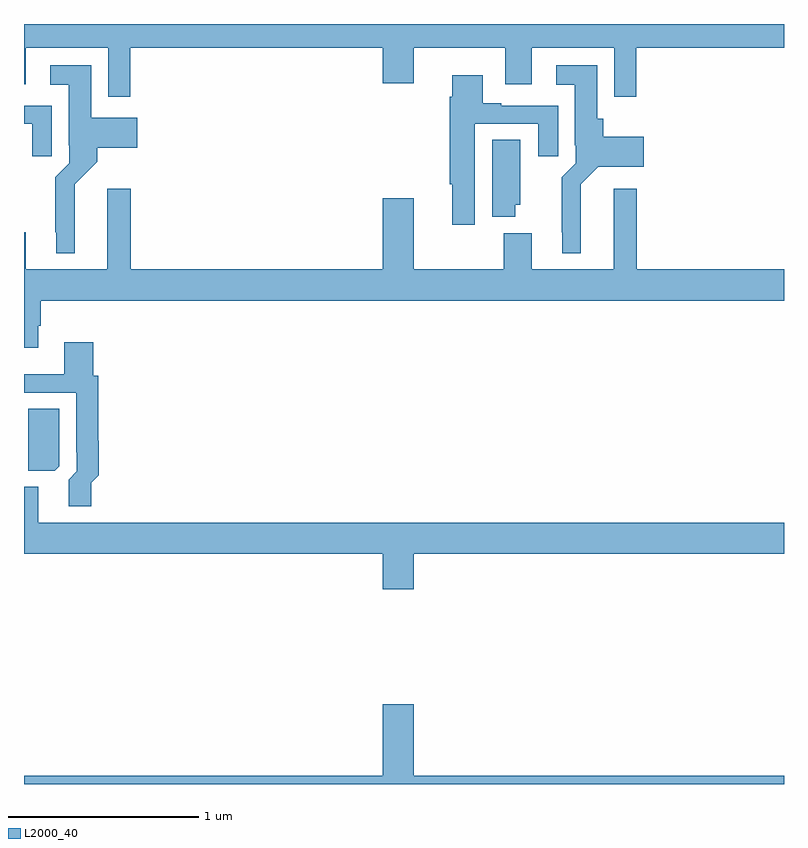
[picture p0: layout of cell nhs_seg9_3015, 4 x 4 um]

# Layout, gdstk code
import gdstk
lib = gdstk.Library(unit=1e-6, precision=1e-09)
def P(c, l, *ps):  # polygons
    for p in ps: c.add(gdstk.Polygon(p, *l))
L2000_40 = (2000, 40)

nhs_seg9_3015 = lib.new_cell('nhs_seg9_3015')
P(nhs_seg9_3015, L2000_40, [(283.559,1240.376),(284.888,1240.376),(284.888,1240.188),(285.052,1240.188),(285.052,1240.376),(285.533,1240.376),(285.533,1240.182),(285.673,1240.182),(285.673,1240.376),(286.107,1240.376),(286.107,1240.116),(286.223,1240.116),(286.223,1240.376),(287,1240.376),(287,1240.5),(283,1240.5),(283,1240.182),(283.009,1240.182),(283.009,1240.376),(283.443,1240.376),(283.443,1240.116),(283.559,1240.116)],
  [(283.267,1239.656),(283.385,1239.774),(283.385,1239.848),(283.597,1239.848),(283.597,1240.006),(283.354,1240.006),(283.354,1240.282),(283.137,1240.282),(283.137,1240.181),(283.235,1240.181),(283.235,1239.862),(283.239,1239.862),(283.239,1239.768),(283.165,1239.694),(283.165,1239.403),(283.169,1239.403),(283.169,1239.293),(283.267,1239.293)],
  [(285.931,1239.656),(286.023,1239.749),(286.261,1239.749),(286.261,1239.907),(286.049,1239.907),(286.049,1240.002),(286.018,1240.002),(286.018,1240.282),(285.801,1240.282),(285.801,1240.181),(285.899,1240.181),(285.899,1239.862),(285.903,1239.862),(285.903,1239.768),(285.829,1239.694),(285.829,1239.403),(285.833,1239.403),(285.833,1239.293),(285.931,1239.293)],
  [(285.373,1239.975),(285.707,1239.975),(285.707,1239.804),(285.811,1239.804),(285.811,1240.071),(285.511,1240.071),(285.511,1240.084),(285.415,1240.084),(285.415,1240.231),(285.254,1240.231),(285.254,1240.118),(285.242,1240.118),(285.242,1239.656),(285.254,1239.656),(285.254,1239.444),(285.373,1239.444)],
  [(283.147,1240.071),(283,1240.071),(283,1239.975),(283.043,1239.975),(283.043,1239.804),(283.147,1239.804)],
  [(285.586,1239.549),(285.613,1239.549),(285.613,1239.89),(285.464,1239.89),(285.464,1239.485),(285.586,1239.485)],
  [(283.075,1238.911),(283.088,1238.911),(283.088,1239.044),(287,1239.044),(287,1239.208),(286.226,1239.208),(286.226,1239.634),(286.103,1239.634),(286.103,1239.208),(285.673,1239.208),(285.673,1239.4),(285.526,1239.4),(285.526,1239.208),(285.052,1239.208),(285.052,1239.583),(284.888,1239.583),(284.888,1239.208),(283.562,1239.208),(283.562,1239.634),(283.439,1239.634),(283.439,1239.208),(283.009,1239.208),(283.009,1239.403),(283,1239.403),(283,1238.796),(283.075,1238.796)],
  [(283.355,1238.085),(283.394,1238.124),(283.394,1238.306),(283.391,1238.306),(283.391,1238.649),(283.364,1238.649),(283.364,1238.824),(283.211,1238.824),(283.211,1238.656),(283,1238.656),(283,1238.559),(283.275,1238.559),(283.275,1238.245),(283.278,1238.245),(283.278,1238.145),(283.235,1238.102),(283.235,1237.962),(283.355,1237.962)],
  [(283.185,1238.172),(283.185,1238.474),(283.023,1238.474),(283.023,1238.363),(283.022,1238.363),(283.022,1238.149),(283.161,1238.149)],
  [(285.052,1237.712),(287,1237.712),(287,1237.876),(283.075,1237.876),(283.075,1238.064),(283,1238.064),(283,1237.712),(284.888,1237.712),(284.888,1237.524),(285.052,1237.524)],
  [(287,1236.544),(285.052,1236.544),(285.052,1236.919),(284.888,1236.919),(284.888,1236.544),(283,1236.544),(283,1236.5),(287,1236.5)])

lib.write_gds('nhs_seg9_3015.gds')
